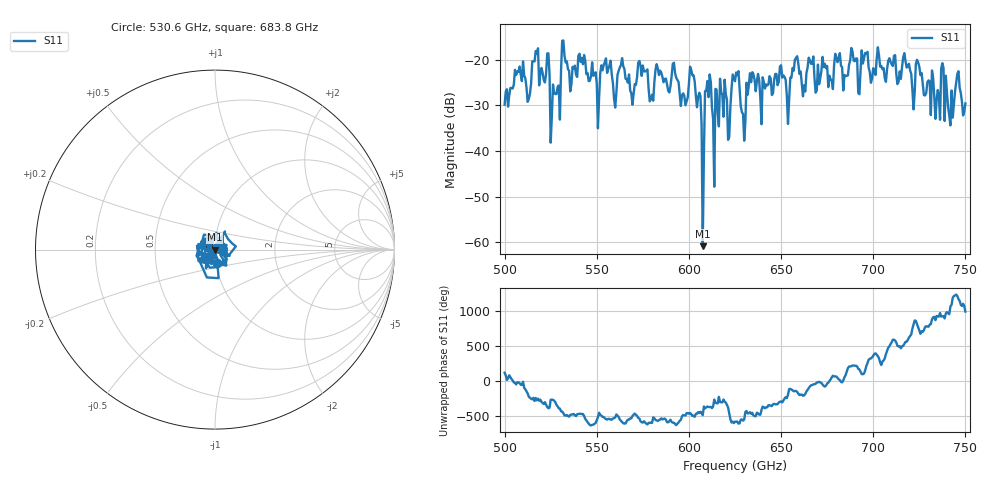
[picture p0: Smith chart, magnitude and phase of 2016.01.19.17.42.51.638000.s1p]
!Created with skrf (http://scikit-rf.org).
# GHz S RI R 50.0
!freq ReS11 ImS11
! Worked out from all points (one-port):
!   401 points, 500 GHz to 750 GHz, reference 50 ohm
!   lowest |S11| = -60.9 dB at 607.5 GHz (marker M1), VSWR 1.00, Z = 49.9 - j0.0626 ohm
!   |S11| at or under -10 dB: start of sweep to end of sweep
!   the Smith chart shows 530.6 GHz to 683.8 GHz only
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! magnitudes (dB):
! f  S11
! 500 GHz  -29.9
! 506.9 GHz  -22.6
! 513.1 GHz  -28.6
! 516.9 GHz  -18.1
! 523.1 GHz  -18.7
! 526.2 GHz  -25.5
! 531.2 GHz  -15.9
! 550 GHz  -25.3
! 562.5 GHz  -21.7
! 569.4 GHz  -29.9
! 573.8 GHz  -21.4
! 579.4 GHz  -28.7
! 583.1 GHz  -22.0
! 593.8 GHz  -24.5
! 601.9 GHz  -23.5
! 607.5 GHz  -60.9
! 610 GHz  -24.7
! 615 GHz  -26.6
! 618.1 GHz  -27.8
! 621.9 GHz  -36.9
! 625 GHz  -24.8
! 629.4 GHz  -31.9
! 633.8 GHz  -25.0
! 653.8 GHz  -34.1
! 656.2 GHz  -21.8
! 687.5 GHz  -20.2
! 718.8 GHz  -21.6
! 750 GHz  -29.6
